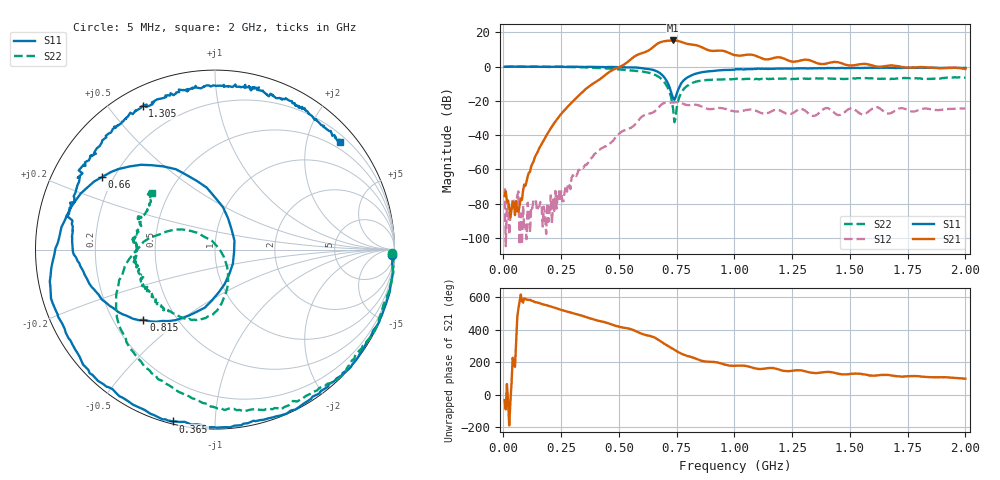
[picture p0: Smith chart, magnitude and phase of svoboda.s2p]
#  HZ  S  DB  R  50.0
! Rohde & Schwarz ZVL
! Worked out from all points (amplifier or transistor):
!   400 points, 5 MHz to 2 GHz, reference 50 ohm
!   highest |S21| = 15.3 dB at 735 MHz (marker M1)
!   |S21| within 3 dB of that: 655.9 MHz to 840.4 MHz (184.6 MHz wide, 24.7 % of centre)
!   unconditionally stable (mu >= 1): 55 MHz to 135 MHz; 145 MHz to 455.8 MHz; 707.4 MHz to 821.5 MHz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
!   at 335 MHz: K = 10.02, MAG = 8.9 dB, |S12| = -59.5 dB
!   at 1.005 GHz: K = 1.02, MAG = 15.5 dB, |S12| = -26.1 dB
!   at 2 GHz: K = 0.81, MSG = 11.6 dB, |S12| = -24.5 dB
!   S11 on the Smith chart (normalised r, x): 5 MHz: 27, -58; 365 MHz: 0.01, -0.79; 660 MHz: 0.16, +0.29; 815 MHz: 0.33, -0.37; 1.305 GHz: 0.07, +0.61; 2 GHz: 0.35, +2.66
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5000000  -0.11 -1.6  -75.49 -33.9  -70.95 13.9  -0.10 -1.2
1e7  -0.09 -2.4  -72.65 -90.7  -104.78 25.5  -0.06 -1.9
7e7  -0.01 -21.5  -81.00 -143.9  -104.05 -140.1  -0.02 -12.3
2.3e8  -0.02 -66.4  -31.02 172.2  -82.87 33.2  -0.10 -42.0
3.4e8  -0.14 -97.6  -15.01 127.3  -58.87 50.2  -0.35 -64.7
3.65e8  -0.13 -103.6  -12.13 115.2  -56.33 46.1  -0.49 -70.1
4.65e8  -0.19 -132.5  -2.55 75.2  -44.47 14.1  -1.27 -92.3
5.65e8  -0.42 -163.4  5.72 36.7  -34.42 -20.7  -2.36 -120.7
6.4e8  -1.68 160.8  10.53 0.4  -27.15 -62.6  -3.88 -149.5
6.6e8  -2.51 147.4  12.70 -12.2  -25.53 -66.8  -5.03 -162.3
6.7e8  -3.10 140.1  13.66 -20.1  -24.12 -71.4  -5.82 -169.3
7e8  -6.98 111.2  14.91 -48.7  -21.11 -101.5  -9.71 165.5
7.35e8  -18.45 25.0  15.27 -78.1  -20.92 -130.8  -25.10 110.3
7.4e8  -19.39 -8.0  15.25 -83.1  -20.85 -134.5  -32.43 72.4
7.7e8  -9.68 -99.9  14.41 -107.2  -21.30 -157.6  -15.25 -65.3
8.15e8  -5.06 -135.6  12.93 -129.0  -22.38 -172.1  -9.66 -86.6
8.75e8  -2.98 -161.8  10.24 -155.6  -24.32 162.7  -7.90 -104.1
1.005e9  -1.44 167.1  6.70 178.4  -26.13 143.1  -7.09 -130.2
1.305e9  -0.95 116.7  4.07 145.5  -25.57 110.5  -6.98 -167.2
1.335e9  -1.04 112.8  3.30 135.3  -28.57 115.8  -6.95 -170.1
1.67e9  -0.72 75.3  0.60 121.0  -27.37 110.7  -7.29 163.0
2e9  -0.73 40.6  -1.39 99.0  -24.54 98.0  -6.52 138.0
